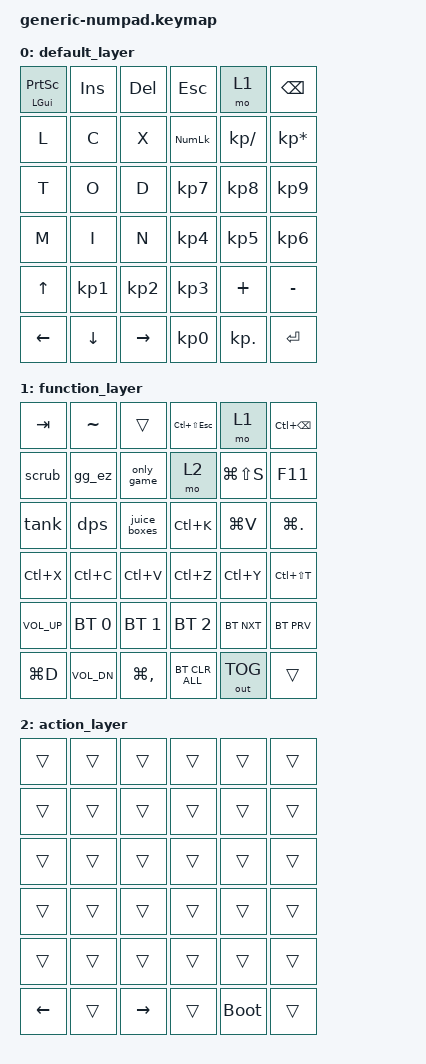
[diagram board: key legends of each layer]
#include <behaviors.dtsi>
#include <dt-bindings/zmk/bt.h>
#include <dt-bindings/zmk/keys.h>
#include <dt-bindings/zmk/outputs.h>

// ------------------default-----------------
// | prntscrn | scrlk    | pause    | esc      | LAYERSFT |     backspace     | 
// | inserT   | home     | pgup     | num lock |    /     |    *    |    -    |
// | delete   | end      | pgdn     |    7     |    8     |    9    |    +    |
// | A        | B        | C        |    4     |    5     |    6    |         |
// |          | up       |          |    1     |    2     |    3    |  ENTER  |
// | Left     | down     | right    |    0                |    .    |         |
// ----------------------------functions-------------------------------
// | NOP  | NOP  | NOP  |    NOP    | LAYERSFT  |    NOP                     |
// | NOP  | NOP  | NOP  | LAYERSFT  |   NOP     |    NOP    | Bluetooth PREV |
// | NOP  | NOP  | NOP  |    NOP    |   NOP     |    NOP    | Bluetooth Next |
// | NOP  | NOP  | NOP  |    NOP    |  OUT_TOG  |    NOP    |                |
// | NOP  | NOP  | NOP  |   BlE 0   |  BlE 1    |   BLE 2   | reset          |
// | NOP  | NOP  | NOP  |       BluetoothCLR    |    NOP    |                |
// --------------------action layer------------------
// |   NOP   |    NOP   |   NOP    |    NOP   |    NOP   |    NOP                 |
// |   NOP   |    NOP   |   NOP    |    NOP   |    NOP   |    NOP    |     NOP    |
// |   NOP   |    NOP   |   NOP    |    NOP   |    NOP   |    NOP    |     NOP    |
// |   NOP   |    NOP   |   NOP    |    NOP   |    NOP   |    NOP    |            |
// |   NOP   |    NOP   |   NOP    |    NOP   |    NOP   |    NOP    |     NOP    |
// |ArrowLeft|    NOP   |ArrowRight|          |    NOP   | BootLoader|            |

/ {
    macros {
        scrub: scrub {
            compatible = "zmk,behavior-macro";
            #binding-cells = <0>;
            bindings = <&kp LS(I) &kp SQT &kp M &kp SPACE &kp O &kp N &kp SPACE &kp C &kp O &kp N &kp T &kp R &kp O &kp L &kp L &kp E &kp R &kp COMMA &kp SPACE &kp S &kp O &kp R &kp R &kp Y>;
        };

        gg_ez: gg_ez {
            compatible = "zmk,behavior-macro";
            #binding-cells = <0>;
            bindings = <&kp LS(G) &kp LS(G) &kp UNDER &kp LS(E) &kp LS(Z)>;
        };

        only_game: only_game {
            compatible = "zmk,behavior-macro";
            #binding-cells = <0>;
            bindings = <&kp I &kp Z &kp SPACE &kp O &kp N &kp L &kp Y &kp SPACE &kp G &kp A &kp M &kp E &kp COMMA &kp SPACE &kp W &kp H &kp Y &kp SPACE &kp Y &kp O &kp U &kp SPACE &kp H &kp A &kp F &kp F &kp SPACE &kp T &kp O &kp SPACE &kp B &kp E &kp SPACE &kp M &kp A &kp D>;
        };

        tank: tank {
            compatible = "zmk,behavior-macro";
            #binding-cells = <0>;
            bindings = <&none &kp T &kp A &kp N &kp K &kp SPACE &kp D &kp O &kp SPACE &kp S &kp O &kp M &kp E &kp T &kp H &kp I &kp N &kp G>;
        };

        dps: dps {
            compatible = "zmk,behavior-macro";
            #binding-cells = <0>;
            bindings = <&none &kp D &kp P &kp S &kp SPACE &kp S &kp H &kp O &kp O &kp T &kp SPACE &kp S &kp O &kp M &kp E &kp O &kp N &kp E>;
        };

        juice_boxes: juice_boxes {
            compatible = "zmk,behavior-macro";
            #binding-cells = <0>;
            bindings = <&kp I &kp M &kp SPACE &kp O &kp U &kp T &kp SPACE &kp O &kp F &kp SPACE &kp J &kp U &kp I &kp C &kp E &kp SPACE &kp B &kp O &kp X &kp E &kp S>;
        };
    };

    keymap {
        compatible = "zmk,keymap";

        default_layer {
            bindings = <
&mt LGUI PRINTSCREEN  &kp INS    &kp DEL    &kp ESC     &mo 1          &kp BSPC
&kp L                 &kp C      &kp X      &kp KP_NUM  &kp KP_DIVIDE  &kp KP_MULTIPLY
&kp T                 &kp O      &kp D      &kp KP_N7   &kp KP_N8      &kp KP_N9
&kp M                 &kp I      &kp N      &kp KP_N4   &kp KP_N5      &kp KP_N6
&kp UP                &kp KP_N1  &kp KP_N2  &kp KP_N3   &kp PLUS       &kp MINUS
&kp LEFT              &kp DOWN   &kp RIGHT  &kp KP_N0   &kp KP_DOT     &kp RETURN
            >;
        };

        function_layer {
            bindings = <
&kp TAB       &kp TILDE     &trans         &kp LC(LS(ESCAPE))  &mo 1          &kp LC(BACKSPACE)
&scrub        &gg_ez        &only_game     &mo 2               &kp LG(LS(S))  &kp F11
&tank         &dps          &juice_boxes   &kp LC(K)           &kp LG(V)      &kp LG(PERIOD)
&kp LC(X)     &kp LC(C)     &kp LC(V)      &kp LC(Z)           &kp LC(Y)      &kp LC(LS(T))
&kp C_VOL_UP  &bt BT_SEL 0  &bt BT_SEL 1   &bt BT_SEL 2        &bt BT_NXT     &bt BT_PRV
&kp LG(D)     &kp C_VOL_DN  &kp LG(COMMA)  &bt BT_CLR_ALL      &out OUT_TOG   &trans
            >;
        };

        action_layer {
            bindings = <
&trans    &trans  &trans     &trans  &trans       &trans
&trans    &trans  &trans     &trans  &trans       &trans
&trans    &trans  &trans     &trans  &trans       &trans
&trans    &trans  &trans     &trans  &trans       &trans
&trans    &trans  &trans     &trans  &trans       &trans
&kp LEFT  &trans  &kp RIGHT  &trans  &bootloader  &trans
            >;
        };
    };
};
